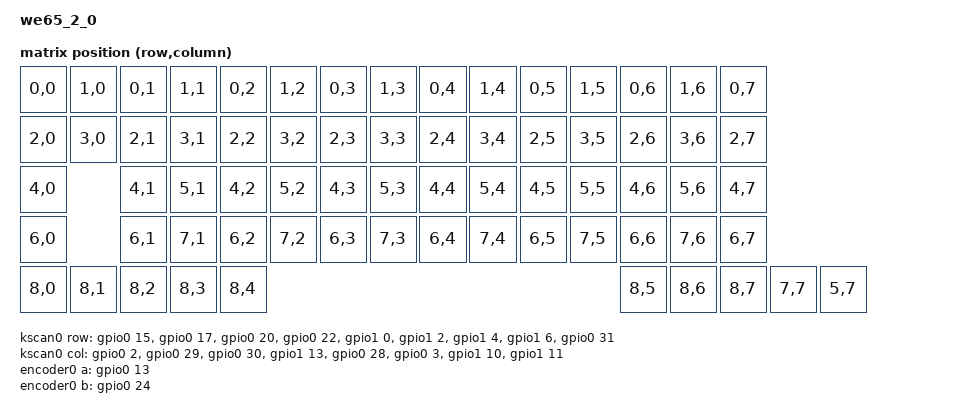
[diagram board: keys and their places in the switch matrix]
/*
 * Copyright (c) 2020 The ZMK Contributors
 *
 * SPDX-License-Identifier: MIT
 */

/dts-v1/;
#include <nordic/nrf52840_qiaa.dtsi>
#include <dt-bindings/zmk/matrix_transform.h>
#include "wekey.dtsi"

/ {
	model = "we65_2_0";
	compatible = "wekey,we65_2_0";

	leds {
		compatible = "gpio-leds";
		blue_led: led_0 {
			gpios = <&gpio0 26 GPIO_ACTIVE_HIGH>;
			label = "Blue LED";
		};
	};

	vbatt {
		compatible = "zmk,battery-voltage-divider";
		label = "BATTERY";
		io-channels = <&adc 3>;
		output-ohms = <100000>;
		full-ohms = <(100000 + 100000)>;
	};

	ext-power {
		compatible = "zmk,ext-power-generic";
		label = "EXT_POWER";
		control-gpios = <&gpio0 12 GPIO_ACTIVE_LOW>;
	};

	chosen {
		zephyr,code-partition = &code_partition;
		zephyr,sram = &sram0;
		zephyr,flash = &flash0;
		zmk,kscan = &kscan0;
		zmk,matrix_transform = &matrix_transform0;
		zmk,underglow = &led_strip;
	};

	kscan0: kscan {
		compatible = "zmk,kscan-gpio-matrix";
		label = "KSCAN";
		diode-direction = "col2row";
		row-gpios
			= <&gpio0 15 (GPIO_ACTIVE_HIGH | GPIO_PULL_DOWN)>
			, <&gpio0 17 (GPIO_ACTIVE_HIGH | GPIO_PULL_DOWN)>
			, <&gpio0 20 (GPIO_ACTIVE_HIGH | GPIO_PULL_DOWN)>
			, <&gpio0 22 (GPIO_ACTIVE_HIGH | GPIO_PULL_DOWN)>
			, <&gpio1 0  (GPIO_ACTIVE_HIGH | GPIO_PULL_DOWN)>
			, <&gpio1 2  (GPIO_ACTIVE_HIGH | GPIO_PULL_DOWN)>
			, <&gpio1 4  (GPIO_ACTIVE_HIGH | GPIO_PULL_DOWN)>
			, <&gpio1 6  (GPIO_ACTIVE_HIGH | GPIO_PULL_DOWN)>
			, <&gpio0 31 (GPIO_ACTIVE_HIGH | GPIO_PULL_DOWN)>
			;
		col-gpios
			= <&gpio0 2  GPIO_ACTIVE_HIGH>
			, <&gpio0 29 GPIO_ACTIVE_HIGH>
			, <&gpio0 30 GPIO_ACTIVE_HIGH>
			, <&gpio1 13 GPIO_ACTIVE_HIGH>
			, <&gpio0 28 GPIO_ACTIVE_HIGH>
			, <&gpio0 3  GPIO_ACTIVE_HIGH>
			, <&gpio1 10 GPIO_ACTIVE_HIGH>
			, <&gpio1 11 GPIO_ACTIVE_HIGH>
			;
	};
	matrix_transform0: keymap_transform_0 {
		compatible = "zmk,matrix-transform";
		columns = <8>;
		rows = <9>;
        map = <
RC(0,0) RC(1,0) RC(0,1) RC(1,1) RC(0,2) RC(1,2) RC(0,3) RC(1,3) RC(0,4) RC(1,4) RC(0,5) RC(1,5) RC(0,6) RC(1,6) RC(0,7)
RC(2,0) RC(3,0) RC(2,1) RC(3,1) RC(2,2) RC(3,2) RC(2,3) RC(3,3) RC(2,4) RC(3,4) RC(2,5) RC(3,5) RC(2,6) RC(3,6) RC(2,7)
RC(4,0)         RC(4,1) RC(5,1) RC(4,2) RC(5,2) RC(4,3) RC(5,3) RC(4,4) RC(5,4) RC(4,5) RC(5,5) RC(4,6) RC(5,6) RC(4,7)
RC(6,0)         RC(6,1) RC(7,1) RC(6,2) RC(7,2) RC(6,3) RC(7,3) RC(6,4) RC(7,4) RC(6,5) RC(7,5) RC(6,6) RC(7,6) RC(6,7)
RC(8,0)         RC(8,1)         RC(8,2)         RC(8,3)         RC(8,4)         RC(8,5)         RC(8,6)         RC(8,7) RC(7,7) RC(5,7)
        >;
	};

	sensors {
        compatible = "zmk,keymap-sensors";
        sensors = <&encoder0>;
    };
    encoder0: encoder_0 {
        compatible = "alps,ec11";
        label = "ENCODER_0";
        a-gpios = <&gpio0 13 (GPIO_ACTIVE_HIGH | GPIO_PULL_UP)>;
        b-gpios = <&gpio0 24 (GPIO_ACTIVE_HIGH | GPIO_PULL_UP)>;
        resolution = <2>;
    };
};

&encoder0 {
    status = "okay";
};

&spi1 {
	compatible = "nordic,nrf-spim";
	/* Cannot be used together with i2c0. */
	status = "okay";
	mosi-pin = <7>;
	// Unused pins, needed for SPI definition, but not used by the ws2812 driver itself.
	sck-pin = <46>;
	miso-pin = <47>;

	led_strip: ws2812@0 {
		compatible = "worldsemi,ws2812-spi";
		label = "SK6812mini";

		/* SPI */
		reg = <0>; /* ignored, but necessary for SPI bindings */
		spi-max-frequency = <4000000>;

		/* WS2812 */
		chain-length = <16>; /* There are per-key RGB, but the first 6 are underglow */
		spi-one-frame = <0x70>;
		spi-zero-frame = <0x40>;
	};
};

